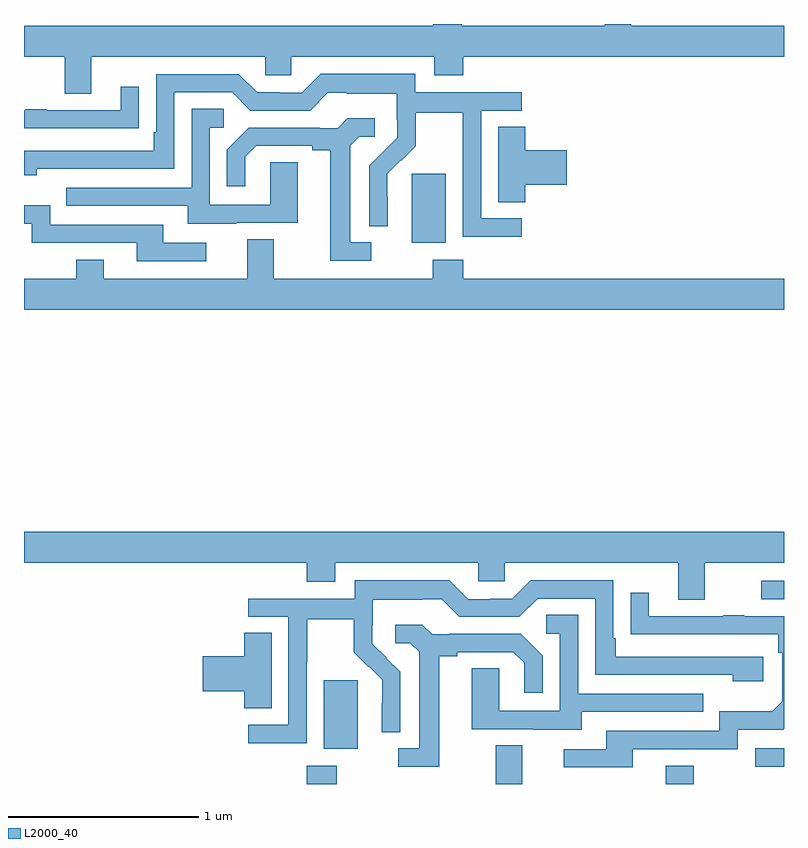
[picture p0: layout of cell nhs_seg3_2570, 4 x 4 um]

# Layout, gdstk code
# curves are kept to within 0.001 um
import gdstk
lib = gdstk.Library(unit=1e-6, precision=1e-09)
def R(c, l, rs):  # rectangles x0, y0, x1, y1
    for r in rs: c.add(gdstk.rectangle(r[:2], r[2:], *l))
def P(c, l, *ps):  # polygons
    for p in ps: c.add(gdstk.Polygon(p, *l))
L2000_40 = (2000, 40)

nhs_seg3_2570 = lib.new_cell('nhs_seg3_2570')
R(nhs_seg3_2570, L2000_40, [(244.487,718.4,244.647,718.495), (245.483,718.4,245.623,718.604), (246.377,718.4,246.525,718.495), (246.849,718.491,247,718.587), (244.577,718.586,244.756,718.947), (246.879,719.373,247,719.469), (245.042,721.25,245.221,721.611)])
P(nhs_seg3_2570, L2000_40, [(243.355,722.228),(244.269,722.228),(244.269,722.13),(244.407,722.13),(244.407,722.228),(245.159,722.228),(245.159,722.129),(245.312,722.129),(245.312,722.228),(247,722.228),(247,722.392),(246.195,722.392),(246.195,722.4),(246.057,722.4),(246.057,722.392),(245.305,722.392),(245.305,722.4),(245.153,722.4),(245.153,722.392),(243,722.392),(243,722.228),(243.215,722.228),(243.215,722.034),(243.355,722.034)],
  [(245.62,721.377),(245.406,721.377),(245.406,721.944),(245.62,721.944),(245.62,722.04),(245.058,722.04),(245.058,722.137),(244.561,722.137),(244.461,722.037),(244.346,722.037),(244.346,722.04),(244.227,722.04),(244.131,722.136),(243.696,722.136),(243.696,721.831),(243.683,721.831),(243.683,721.734),(243,721.734),(243,721.604),(243.068,721.604),(243.068,721.638),(243.792,721.638),(243.792,722.04),(244.095,722.04),(244.191,721.944),(244.506,721.944),(244.599,722.037),(244.699,722.037),(244.699,722.033),(244.962,722.033),(244.962,721.899),(244.964,721.899),(244.964,721.802),(244.818,721.654),(244.818,721.336),(244.914,721.336),(244.913,721.613),(244.983,721.683),(244.986,721.68),(245.063,721.757),(245.063,721.932),(245.308,721.932),(245.308,721.708),(245.31,721.708),(245.31,721.279),(245.62,721.279)],
  [(243.503,721.852),(243.605,721.852),(243.605,722.071),(243.509,722.071),(243.509,721.947),(243.119,721.947),(243.119,721.952),(243.007,721.952),(243.007,721.947),(243,721.947),(243,721.851),(243.503,721.851)],
  [(244.117,721.353),(244.441,721.353),(244.441,721.673),(244.296,721.673),(244.296,721.449),(243.978,721.449),(243.978,721.854),(244.051,721.854),(244.051,721.955),(243.882,721.955),(243.882,721.539),(243.223,721.539),(243.223,721.443),(243.863,721.443),(243.863,721.349),(244.117,721.349)],
  [(244.828,721.251),(244.717,721.251),(244.717,721.759),(244.764,721.806),(244.846,721.806),(244.846,721.903),(244.702,721.903),(244.65,721.851),(244.556,721.851),(244.556,721.854),(244.184,721.854),(244.068,721.738),(244.068,721.545),(244.165,721.545),(244.165,721.701),(244.222,721.758),(244.517,721.758),(244.517,721.736),(244.613,721.736),(244.613,721.155),(244.828,721.155)],
  [(245.639,721.553),(245.857,721.553),(245.857,721.736),(245.639,721.736),(245.639,721.859),(245.495,721.859),(245.495,721.462),(245.639,721.462)],
  [(243.958,721.248),(243.733,721.248),(243.733,721.344),(243.138,721.344),(243.138,721.447),(243,721.447),(243,721.35),(243.042,721.35),(243.042,721.248),(243.593,721.248),(243.593,721.152),(243.958,721.152)],
  [(247,721.06),(245.312,721.06),(245.312,721.159),(245.152,721.159),(245.152,721.06),(244.315,721.06),(244.315,721.268),(244.175,721.268),(244.175,721.06),(243.421,721.06),(243.421,721.159),(243.274,721.159),(243.274,721.06),(243,721.06),(243,720.896),(247,720.896)],
  [(246.583,719.564),(247,719.564),(247,719.728),(243,719.728),(243,719.564),(244.487,719.564),(244.487,719.465),(244.639,719.465),(244.639,719.564),(245.391,719.564),(245.391,719.466),(245.529,719.466),(245.529,719.564),(246.443,719.564),(246.443,719.37),(246.583,719.37)],
  [(244.488,719.044),(244.491,719.044),(244.491,719.268),(244.735,719.268),(244.735,719.093),(244.812,719.016),(244.815,719.019),(244.886,718.949),(244.886,718.826),(244.884,718.826),(244.884,718.672),(244.98,718.672),(244.98,718.99),(244.834,719.138),(244.834,719.235),(244.836,719.235),(244.836,719.369),(245.099,719.369),(245.099,719.373),(245.199,719.373),(245.292,719.28),(245.607,719.28),(245.703,719.376),(246.006,719.376),(246.006,718.974),(246.731,718.974),(246.731,718.94),(246.892,718.94),(246.892,719.07),(246.115,719.07),(246.115,719.167),(246.102,719.167),(246.102,719.472),(245.667,719.472),(245.571,719.376),(245.453,719.376),(245.453,719.373),(245.337,719.373),(245.237,719.473),(244.74,719.473),(244.74,719.376),(244.179,719.376),(244.179,719.28),(244.392,719.28),(244.392,718.713),(244.179,718.713),(244.179,718.615),(244.488,718.615)],
  [(246.205,718.584),(246.756,718.584),(246.756,718.686),(246.996,718.686),(247,718.69),(247,719.283),(246.791,719.283),(246.791,719.288),(246.679,719.288),(246.679,719.283),(246.289,719.283),(246.289,719.407),(246.193,719.407),(246.193,719.188),(246.97,719.187),(246.97,719.09),(246.99,719.09),(246.99,718.836),(246.937,718.783),(246.66,718.783),(246.66,718.68),(246.065,718.68),(246.065,718.584),(245.841,718.584),(245.841,718.488),(246.205,718.488)],
  [(245.935,718.779),(246.575,718.779),(246.575,718.875),(245.916,718.875),(245.916,719.291),(245.748,719.291),(245.748,719.19),(245.82,719.19),(245.82,718.785),(245.502,718.785),(245.502,719.009),(245.357,719.009),(245.357,718.689),(245.681,718.689),(245.681,718.685),(245.935,718.685)],
  [(245.185,719.072),(245.281,719.072),(245.281,719.094),(245.576,719.094),(245.633,719.037),(245.633,718.881),(245.73,718.881),(245.73,719.074),(245.614,719.19),(245.242,719.19),(245.242,719.187),(245.148,719.187),(245.096,719.239),(244.953,719.239),(244.953,719.142),(245.034,719.142),(245.081,719.095),(245.081,718.587),(244.971,718.587),(244.971,718.491),(245.185,718.491)],
  [(244.303,719.195),(244.16,719.195),(244.16,719.072),(243.942,719.072),(243.942,718.889),(244.16,718.889),(244.16,718.798),(244.303,718.798)])

lib.write_gds('nhs_seg3_2570.gds')
